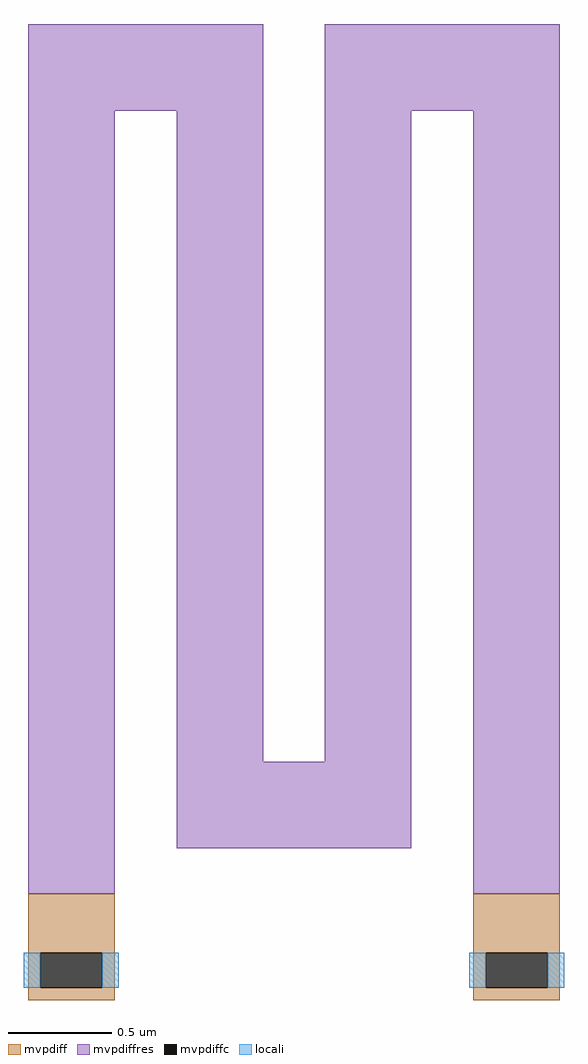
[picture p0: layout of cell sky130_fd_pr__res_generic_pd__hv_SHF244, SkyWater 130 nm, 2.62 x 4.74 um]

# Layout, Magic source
magic
tech sky130A
magscale 1 2
<< mvpdiff >>
rect -258 -427 -174 -370
rect -258 -461 -246 -427
rect -186 -461 -174 -427
rect -258 -473 -174 -461
rect 174 -427 258 -370
rect 174 -461 186 -427
rect 246 -461 258 -427
rect 174 -473 258 -461
<< mvpdiffc >>
rect -246 -461 -186 -427
rect 186 -461 246 -427
<< mvpdiffres >>
rect -258 390 -30 474
rect -258 -370 -174 390
rect -114 -242 -30 390
rect 30 390 258 474
rect 30 -242 114 390
rect -114 -326 114 -242
rect 174 -370 258 390
<< locali >>
rect -262 -461 -246 -427
rect -186 -461 -170 -427
rect 170 -461 186 -427
rect 246 -461 262 -427
<< properties >>
string gencell sky130_fd_pr__res_generic_pd__hv
string library sky130
string parameters w 0.42 l 4 m 1 nx 4 wmin 0.42 lmin 2.10 rho 197 val 9.357k dummy 0 dw 0.02 term 0.0 sterm 0.0 caplen 0.60 snake 1 guard 0 glc 1 grc 1 gtc 1 gbc 1 roverlap 0 endcov 100 full_metal 1 vias 1 viagb 0 viagt 0 viagl 0 viagr 0
<< end >>
